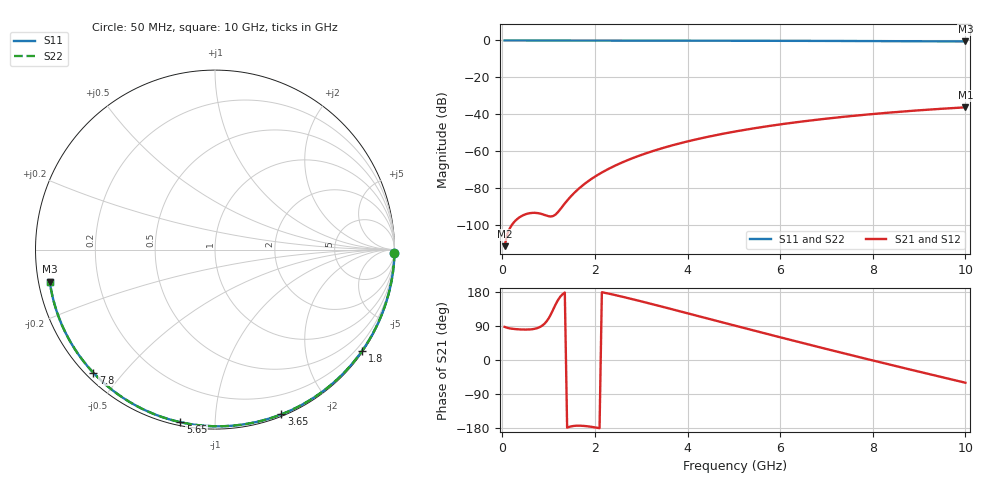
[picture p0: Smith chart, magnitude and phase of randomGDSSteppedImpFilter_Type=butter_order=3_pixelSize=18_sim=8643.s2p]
! freq	dB(S11)	phase(S11)	dB(S12)	phase(S12)
!  dB(S21)	phase(S21)	dB(S22)	phase(S22)
!S-par simulation data
#  GHz  S  DB  R 50
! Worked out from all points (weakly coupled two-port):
!   200 points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, 50 MHz to 10 GHz, reference 50 ohm
!   highest |S21| = -36.24 dB at 10 GHz (marker M1); lowest = -111.5 dB at 50 MHz (marker M2)
!   lowest |S11| = -0.6 dB at 10 GHz (marker M3), VSWR 31.14, Z = 1.62 - j4.78 ohm
!   |S11| at or under -10 dB: nowhere
!   |S22| runs from -0.6 to 0.0 dB; largest |S21 - S12| = 0
!   S11 on the Smith chart (normalised r, x): 50 MHz: open; 1.8 GHz: 0.03, -3.21; 3.65 GHz: 0.02, -1.48; 5.65 GHz: 0.02, -0.82; 7.8 GHz: 0.02, -0.42; 10 GHz: 0.03, -0.10
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0.05  -0.00 -1.0  -111.48 87.3  -111.48 87.3  -0.00 -1.0
0.45  -0.01 -8.8  -94.72 80.4  -94.72 80.4  -0.01 -8.8
0.85  -0.02 -16.5  -94.04 89.7  -94.04 89.7  -0.02 -16.5
1.65  -0.04 -31.8  -80.34 -173.3  -80.34 -173.3  -0.04 -31.8
1.75  -0.04 -33.6  -78.24 -173.8  -78.24 -173.8  -0.04 -33.6
1.8  -0.04 -34.6  -77.27 -174.4  -77.27 -174.4  -0.04 -34.6
2.1  -0.05 -40.2  -72.27 -180.0  -72.27 -180.0  -0.05 -40.2
2.3  -0.06 -43.9  -69.52 175.1  -69.52 175.1  -0.06 -43.9
2.5  -0.06 -47.5  -67.09 169.6  -67.09 169.6  -0.06 -47.5
2.9  -0.07 -54.8  -62.97 157.8  -62.97 157.8  -0.07 -54.8
3.4  -0.08 -63.7  -58.78 142.3  -58.78 142.3  -0.08 -63.7
3.65  -0.09 -68.1  -56.98 134.4  -56.98 134.4  -0.09 -68.0
4.35  -0.11 -80.0  -52.69 112.1  -52.69 112.1  -0.11 -80.0
5.05  -0.14 -91.6  -49.24 89.9  -49.24 89.9  -0.14 -91.6
5.65  -0.17 -101.3  -46.77 70.9  -46.77 70.9  -0.17 -101.3
6.15  -0.20 -109.3  -44.98 55.3  -44.98 55.3  -0.20 -109.2
6.7  -0.23 -117.8  -43.23 38.2  -43.23 38.2  -0.23 -117.8
7.25  -0.27 -126.3  -41.69 21.4  -41.69 21.4  -0.27 -126.3
7.8  -0.31 -134.7  -40.33 4.8  -40.33 4.8  -0.31 -134.7
8.35  -0.37 -143.2  -39.11 -11.6  -39.11 -11.6  -0.37 -143.1
9.2  -0.46 -156.3  -37.50 -36.7  -37.50 -36.7  -0.46 -156.3
10  -0.56 -169.1  -36.24 -60.0  -36.24 -60.0  -0.56 -169.0
